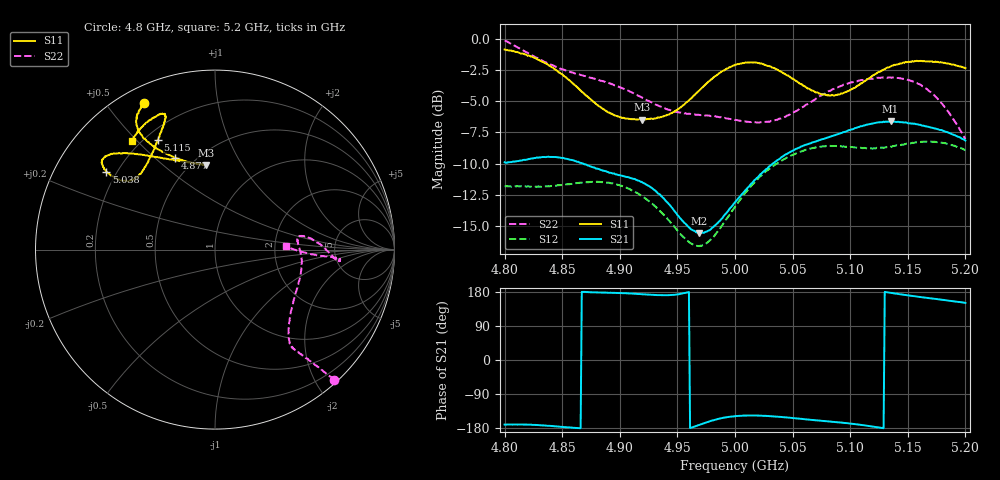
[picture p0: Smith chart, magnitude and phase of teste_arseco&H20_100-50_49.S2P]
! Network Analyzer HP8722D
! Hewlett-Packard
! Data name: Linha & Wilkinson
! Saver's name: Rodrigo Anjos
! Comments: Teste da utilização de aquisição
! continua pelo VNA HP8722D
! Time and date: 6/5/2025 12:58
!  Frequency  S11  S21  S12  S22
# HZ  S  MA R 50
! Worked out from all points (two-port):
!   401 points, 4.8 GHz to 5.2 GHz, reference 50 ohm
!   highest |S21| = -6.62 dB at 5.135 GHz (marker M1); lowest = -15.6 dB at 4.969 GHz (marker M2)
!   |S21| within 3 dB of the highest: 4.822 GHz to 4.854 GHz (31.34 MHz wide, 0.648 % of centre); 5.039 GHz to end of sweep
!   lowest |S11| = -6.5 dB at 4.919 GHz (marker M3), VSWR 2.80, Z = 29.3 + j35.5 ohm
!   |S11| at or under -10 dB: nowhere
!   |S22| runs from -8.0 to -0.1 dB; largest |S21 - S12| = 0.83
!   S11 on the Smith chart (normalised r, x): 4.8 GHz: 0.07, +0.62; 4.877 GHz: 0.39, +0.58; 5.038 GHz: 0.16, +0.31; 5.115 GHz: 0.25, +0.58; 5.2 GHz: 0.17, +0.48
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4.8e9  0.9046 115.9  0.3201 -170.5  0.2564 -85.9  0.9835 -47.5
4.819e9  0.8625 120.4  0.3278 -170.5  0.2555 -81.7  0.8809 -48.8
4.835e9  0.7988 122.5  0.3358 -172.9  0.2563 -76.5  0.8056 -49.7
4.867e9  0.6132 117.9  0.3177 179.7  0.2653 -67.2  0.7141 -51.4
4.877e9  0.5596 113.5  0.3054 178.6  0.2668 -66.1  0.6925 -51.8
4.901e9  0.4841 100.9  0.2829 176.6  0.258 -66.6  0.637 -49.9
4.919e9  0.4734 96.2  0.2671 173.7  0.2346 -68.5  0.5818 -44.9
4.934e9  0.4828 99.3  0.2391 171.1  0.2066 -69.3  0.5377 -37.3
4.947e9  0.5097 107.3  0.2054 172.0  0.1775 -66.7  0.5125 -29.0
4.969e9  0.6204 123.5  0.1668 -171.3  0.1477 -47.7  0.4953 -15.0
4.981e9  0.6971 130.1  0.176 -159.3  0.1603 -33.7  0.4886 -8.7
5e9  0.786 137.2  0.2214 -148.4  0.2127 -21.3  0.4727 -0.3
5.019e9  0.8008 141.7  0.2771 -146.7  0.2718 -18.3  0.4614 6.0
5.038e9  0.7451 144.3  0.3287 -149.6  0.3205 -18.3  0.4781 9.0
5.067e9  0.6194 142.0  0.3844 -158.1  0.3647 -20.4  0.5617 4.7
5.088e9  0.5952 133.1  0.4132 -163.9  0.3716 -23.6  0.6363 -1.7
5.115e9  0.6894 117.6  0.4531 -173.6  0.3633 -26.7  0.6895 -5.2
5.134e9  0.7685 111.3  0.4641 177.8  0.3692 -28.6  0.6996 -4.8
5.135e9  0.7739 111.2  0.4668 177.3  0.3699 -28.6  0.6993 -4.6
5.16e9  0.8139 112.2  0.4519 166.5  0.3857 -34.6  0.6574 -3.8
5.179e9  0.8045 118.7  0.431 159.1  0.3834 -40.6  0.5534 -3.0
5.2e9  0.7615 127.4  0.3906 150.7  0.3579 -46.3  0.3963 2.6
